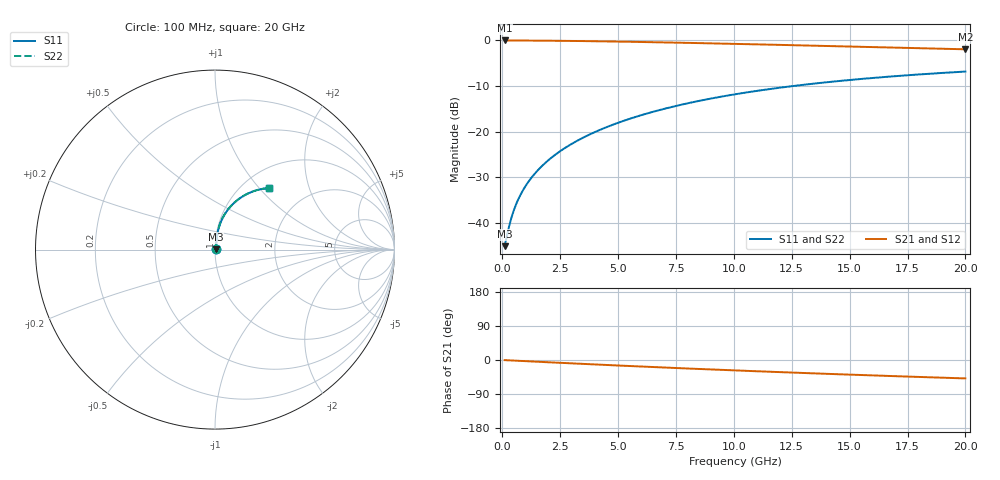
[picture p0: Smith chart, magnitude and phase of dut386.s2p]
! Touchstone file exported from HFSS 2024.1.0
!  File:  C:/UserFiles/LocalFiles/RDL_TSV_Batchsim/temp_RDL_bottom_386_1779614084.aedt
!  Generated:  05:17:42 PM May 24, 2026
!  Design:  RDL_bottom
!  Project:  temp_RDL_bottom_386_1779614084
!  Setup:  Setup1
!  Solution:  Sweep
! Variables:
!  dtsv = 10.80580581um
!  hbump = 3um
!  htsv = 61.57um
!  ldown = 650.05um
!  lrdl = 100um
!  p = 40
!  p1 = 58.31um
!  rhole = 1um
!  t = 450um
!  tdown = 2.2um
!  trdl = 3.915915916um
!  wdown = 22.41um
!  wrdl = 20um
# GHz S MA R 50.000000
! Terminal data exported
! Port[1] = RDL1_T1
! Port[2] = RDL1_T2
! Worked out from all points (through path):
!   200 points, 100 MHz to 20 GHz, reference 50 ohm
!   highest |S21| = -0.04 dB at 100 MHz (marker M1); lowest = -2.0 dB at 20 GHz (marker M2)
!   group delay of S21, straight-line fit = 6.71 ps
!   lowest |S11| = -45.0 dB at 100 MHz (marker M3), VSWR 1.01, Z = 50.5 + j0.266 ohm
!   |S11| at or under -10 dB: start of sweep to 12.57 GHz
!   |S22| runs from -45.0 to -6.8 dB; largest |S21 - S12| = 2.6e-15
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0.1  0.005609 28.0  0.995 -0.3  0.995 -0.3  0.005609 28.0
! Gamma 0 0 0 0
! Port Impedance 50 0 50 0
0.3  0.009387 55.9  0.9947 -0.9  0.9947 -0.9  0.009387 55.9
0.4  0.01162 62.0  0.9944 -1.2  0.9944 -1.2  0.01162 62.0
0.5  0.0139 66.0  0.9941 -1.6  0.9941 -1.6  0.0139 66.0
0.6  0.01619 68.8  0.9939 -1.9  0.9939 -1.9  0.01619 68.8
0.8  0.02078 72.6  0.9933 -2.5  0.9933 -2.5  0.02078 72.6
1  0.0254 75.1  0.9927 -3.0  0.9927 -3.0  0.0254 75.1
1.2  0.03005 76.9  0.992 -3.6  0.992 -3.6  0.03005 76.9
1.7  0.04187 79.5  0.9902 -5.1  0.9902 -5.1  0.04187 79.5
2.2  0.05394 80.8  0.9878 -6.6  0.9878 -6.6  0.05395 80.8
2.8  0.06873 81.5  0.9844 -8.3  0.9844 -8.3  0.06874 81.5
3.5  0.08636 81.5  0.9797 -10.4  0.9797 -10.4  0.08638 81.5
4.2  0.1044 81.0  0.9742 -12.3  0.9742 -12.3  0.1044 81.1
5  0.1253 80.1  0.9673 -14.5  0.9673 -14.5  0.1253 80.1
5.9  0.149 78.7  0.9587 -17.0  0.9587 -17.0  0.1491 78.7
6.8  0.1729 77.1  0.9495 -19.4  0.9495 -19.4  0.173 77.1
8.4  0.2148 73.7  0.9321 -23.4  0.9321 -23.4  0.215 73.8
10.1  0.2579 69.9  0.9126 -27.6  0.9126 -27.6  0.2581 70.0
11.7  0.2963 66.3  0.8937 -31.3  0.8937 -31.3  0.2965 66.3
13.4  0.3345 62.5  0.8734 -35.2  0.8734 -35.2  0.3348 62.5
16.7  0.4002 55.4  0.8341 -42.2  0.8341 -42.2  0.4005 55.4
20  0.4548 48.9  0.7964 -48.6  0.7964 -48.6  0.4552 48.9
